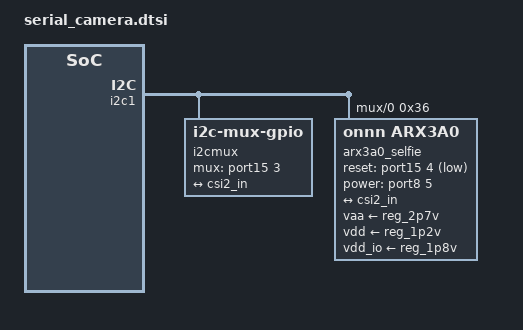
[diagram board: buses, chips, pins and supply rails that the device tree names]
// SPDX-License-Identifier: GPL-2.0
/*
 * MIPI CSI-2 (serial) camera graph for Ensemble boards.
 * Mutually exclusive with parallel_camera.dtsi; selected when
 * CPI_PARALLEL is 0.
 */

/ {
	i2cmux {
		compatible = "i2c-mux-gpio";
		#address-cells = <1>;
		#size-cells = <0>;
		mux-gpios = <&port15 3 GPIO_ACTIVE_HIGH>;
		i2c-parent = <&i2c1>;
		status = "okay";

		i2c@0 {
			#address-cells = <1>;
			#size-cells = <0>;
			reg = <0>;

			arx3a0_selfie: arx3a0@36 {
				compatible = "onnn,arx3a0";
				reg = <0x36>;
				clocks = <&psclks ENSEMBLE_EXT_CLK>;
				clock-names = "extclk";
				pinctrl-0 = <&pinctrl_csi_cam>;
				pinctrl-names = "default";
				reset-gpios = <&port15 4 GPIO_ACTIVE_LOW>;
				power-gpios = <&port8 5 GPIO_ACTIVE_HIGH>;
				vaa-supply = <&reg_2p7v>;
				vdd-supply = <&reg_1p2v>;
				vdd_io-supply = <&reg_1p8v>;
				status = "okay";

				port {
					arx3a0_csi2_ep: endpoint {
						bus-type = <MEDIA_BUS_TYPE_CSI2_DPHY>;
						data-lanes = <1 2>;
						remote-endpoint = <&csi2_in>;
						link-frequencies = /bits/ 64 <400000000>;
					};
				};
			};
		};
	};
};

&dphy {
	status = CSI_STATUS;
};

&csi {
	status = CSI_STATUS;

	ports {
		#address-cells = <1>;
		#size-cells = <0>;

		port@0 {
			reg = <0>;
			csi2_in: endpoint {
				bus-type = <MEDIA_BUS_TYPE_CSI2_DPHY>;
				remote-endpoint = <&arx3a0_csi2_ep>;
				data-lanes = <1 2>;
			};
		};

		port@1 {
			reg = <1>;
			csi_out_ep: endpoint {
				remote-endpoint = <&cpi_ep_in>;
				bus-type = <MEDIA_BUS_TYPE_CSI2_DPHY>;
			};
		};
	};
};

&cpi {
	status = CPI_STATUS;

	ports {
		#address-cells = <1>;
		#size-cells = <0>;

		port@0 {
			reg = <0>;
			cpi_ep_in: endpoint {
				remote-endpoint = <&csi_out_ep>;
				bus-type = <MEDIA_BUS_TYPE_CSI2_DPHY>;
			};
		};

		port@1 {
			reg = <1>;
			cpi_isp_out: endpoint {
			};
		};
	};
};
